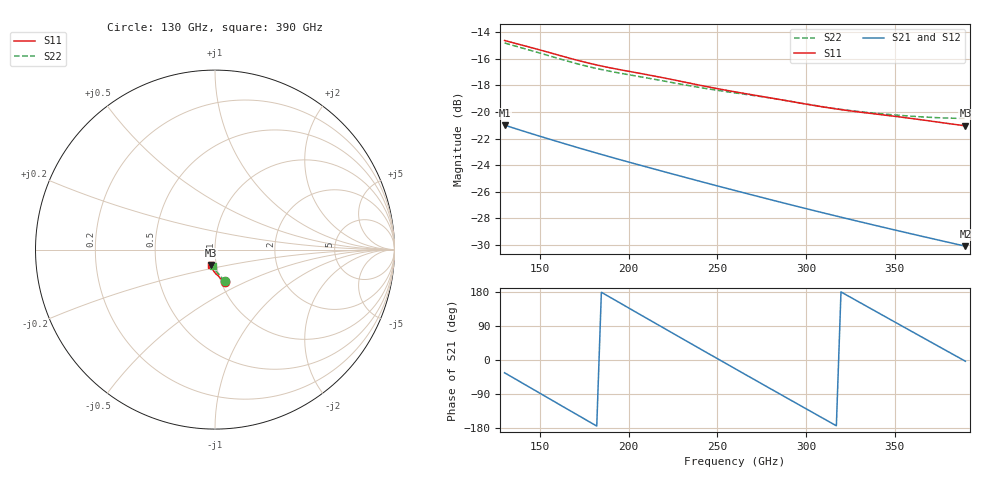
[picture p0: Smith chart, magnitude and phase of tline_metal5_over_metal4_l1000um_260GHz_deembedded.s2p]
! Created with skrf 2.2.0 (http://scikit-rf.org).
# GHz S DB R 50.0
! Port[1] = P1
! Port[2] = P2
!freq dBS11 angS11 dBS21 angS21 dBS12 angS12 dBS22 angS22
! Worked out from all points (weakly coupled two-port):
!   101 points, 130 GHz to 390 GHz, reference 50 ohm
!   highest |S21| = -20.99 dB at 130 GHz (marker M1); lowest = -30.1 dB at 390 GHz (marker M2)
!   lowest |S11| = -21.0 dB at 390 GHz (marker M3), VSWR 1.19, Z = 47.1 - j8.12 ohm
!   |S11| at or under -10 dB: start of sweep to end of sweep
!   |S22| runs from -20.5 to -14.8 dB; largest |S21 - S12| = 1.3e-13
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130  -14.62 -73.3  -20.99 -33.7  -20.99 -33.7  -14.81 -72.0
140.4  -15.00 -75.2  -21.43 -61.9  -21.43 -61.9  -15.21 -73.6
150.8  -15.37 -77.2  -21.86 -90.1  -21.86 -90.1  -15.61 -75.3
161.2  -15.76 -79.2  -22.28 -118.3  -22.28 -118.3  -16.01 -76.9
174.2  -16.22 -81.2  -22.79 -153.3  -22.79 -153.3  -16.49 -78.5
182  -16.47 -82.3  -23.09 -174.3  -23.09 -174.3  -16.74 -79.2
192.4  -16.75 -83.7  -23.48 157.7  -23.48 157.7  -17.02 -80.3
205.4  -17.08 -85.7  -23.96 122.9  -23.96 122.9  -17.33 -81.9
218.4  -17.40 -87.9  -24.43 88.0  -24.43 88.0  -17.64 -83.5
228.8  -17.68 -89.6  -24.81 60.2  -24.81 60.2  -17.89 -84.8
239.2  -17.96 -91.1  -25.18 32.5  -25.18 32.5  -18.14 -85.9
249.6  -18.24 -92.5  -25.54 4.8  -25.54 4.8  -18.36 -87.0
260  -18.49 -93.8  -25.90 -22.8  -25.90 -22.8  -18.56 -88.1
270.4  -18.72 -95.0  -26.26 -50.3  -26.26 -50.3  -18.76 -89.3
280.8  -18.96 -96.3  -26.62 -77.8  -26.62 -77.8  -18.97 -90.5
291.2  -19.20 -97.5  -26.97 -105.3  -26.97 -105.3  -19.20 -91.6
304.2  -19.50 -98.8  -27.40 -139.5  -27.40 -139.5  -19.49 -92.6
314.6  -19.72 -99.6  -27.74 -166.8  -27.74 -166.8  -19.71 -93.2
325  -19.92 -100.4  -28.07 166.0  -28.07 166.0  -19.89 -93.6
348.4  -20.30 -102.3  -28.81 104.9  -28.81 104.9  -20.20 -94.4
371.8  -20.71 -104.2  -29.54 44.0  -29.54 44.0  -20.41 -95.0
390  -21.04 -105.2  -30.09 -3.2  -30.09 -3.2  -20.49 -95.6
